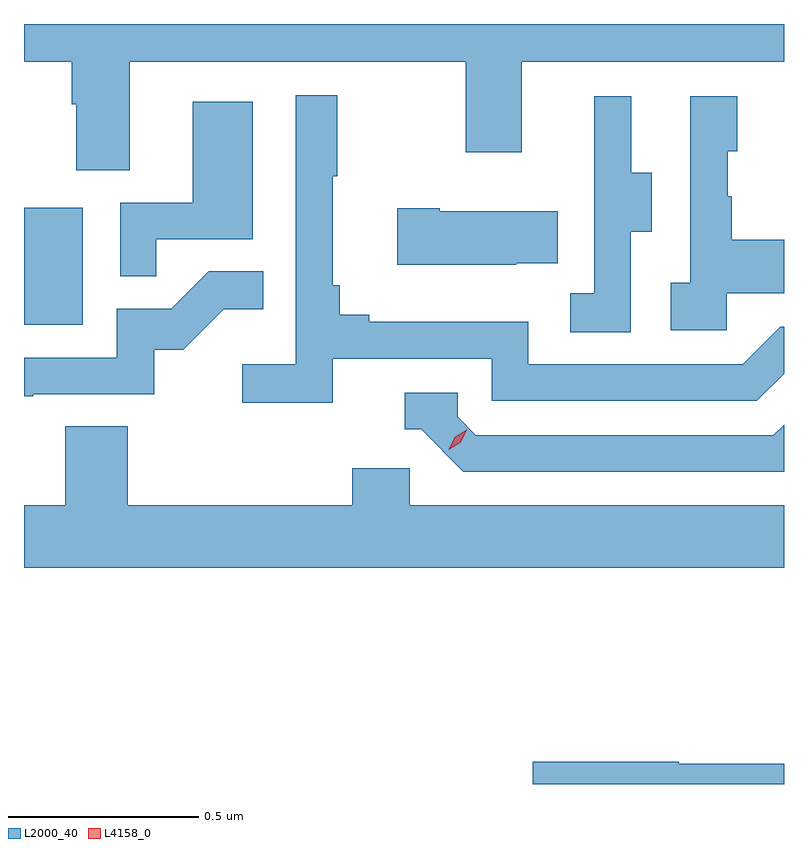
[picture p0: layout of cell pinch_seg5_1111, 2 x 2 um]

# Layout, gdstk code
import gdstk
lib = gdstk.Library(unit=1e-6, precision=1e-09)
def R(c, l, rs):  # rectangles x0, y0, x1, y1
    for r in rs: c.add(gdstk.rectangle(r[:2], r[2:], *l))
def P(c, l, *ps):  # polygons
    for p in ps: c.add(gdstk.Polygon(p, *l))
L2000_40 = (2000, 40)
L4158_0 = (4158, 0)

pinch_seg5_1111 = lib.new_cell('pinch_seg5_1111')
R(pinch_seg5_1111, L2000_40, [(862.631,858.732,862.786,859.039)])
P(pinch_seg5_1111, L2000_40, [(862.909,859.424),(863.794,859.424),(863.794,859.185),(863.941,859.185),(863.941,859.424),(864.631,859.424),(864.631,859.523),(862.631,859.523),(862.631,859.424),(862.757,859.424),(862.757,859.312),(862.769,859.312),(862.769,859.138),(862.909,859.138)],
  [(863.444,858.642),(863.862,858.642),(863.862,858.531),(864.559,858.531),(864.631,858.603),(864.631,858.726),(864.621,858.726),(864.522,858.627),(863.958,858.627),(863.958,858.739),(863.539,858.739),(863.539,858.758),(863.462,858.758),(863.462,858.835),(863.443,858.835),(863.443,859.123),(863.455,859.123),(863.455,859.336),(863.346,859.336),(863.346,858.628),(863.205,858.628),(863.205,858.526),(863.444,858.526)],
  [(864.48,858.815),(864.631,858.815),(864.631,858.955),(864.493,858.955),(864.493,859.07),(864.483,859.07),(864.483,859.188),(864.508,859.188),(864.508,859.333),(864.384,859.333),(864.384,858.842),(864.333,858.842),(864.333,858.717),(864.48,858.717)],
  [(864.228,858.976),(864.283,858.976),(864.283,859.131),(864.229,859.131),(864.229,859.333),(864.131,859.333),(864.131,859.119),(864.132,859.119),(864.132,858.815),(864.069,858.815),(864.069,858.712),(864.228,858.712)],
  [(862.979,858.957),(863.233,858.957),(863.233,859.318),(863.075,859.318),(863.075,859.053),(862.884,859.053),(862.884,858.859),(862.979,858.859)],
  [(863.927,858.893),(864.035,858.893),(864.035,859.03),(863.725,859.03),(863.725,859.038),(863.613,859.038),(863.613,858.89),(863.927,858.89)],
  [(862.655,858.549),(862.974,858.549),(862.974,858.666),(863.05,858.666),(863.157,858.773),(863.261,858.773),(863.261,858.872),(863.117,858.872),(863.019,858.774),(862.875,858.774),(862.875,858.645),(862.631,858.645),(862.631,858.544),(862.655,858.544)],
  [(864.631,858.469),(864.603,858.441),(863.82,858.441),(863.772,858.489),(863.772,858.552),(863.633,858.552),(863.633,858.456),(863.676,858.456),(863.787,858.345),(864.631,858.345)],
  [(864.631,858.256),(863.646,858.256),(863.646,858.354),(863.495,858.354),(863.495,858.256),(862.904,858.256),(862.904,858.464),(862.739,858.464),(862.739,858.256),(862.631,858.256),(862.631,858.092),(864.631,858.092)],
  [(864.631,857.576),(864.354,857.576),(864.354,857.582),(863.97,857.582),(863.97,857.523),(864.631,857.523)])
P(pinch_seg5_1111, L4158_0, [(863.749,858.402),(863.749,858.403),(863.765,858.435),(863.796,858.455),(863.796,858.455),(863.796,858.454),(863.78,858.422),(863.749,858.402)])

lib.write_gds('pinch_seg5_1111.gds')
